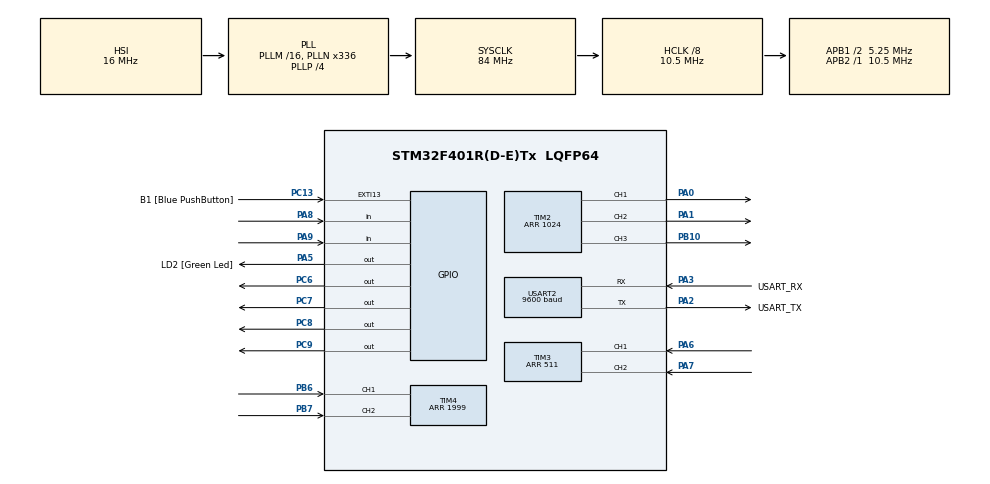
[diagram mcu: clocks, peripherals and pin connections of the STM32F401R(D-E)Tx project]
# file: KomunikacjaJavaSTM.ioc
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Dma.Request0=USART2_RX
Dma.Request1=USART2_TX
Dma.USART2_RX.0.Direction=DMA_PERIPH_TO_MEMORY
Dma.USART2_RX.0.FIFOMode=DMA_FIFOMODE_DISABLE
Dma.USART2_RX.0.Instance=DMA1_Stream5
Dma.USART2_RX.0.MemDataAlignment=DMA_MDATAALIGN_BYTE
Dma.USART2_RX.0.MemInc=DMA_MINC_ENABLE
Dma.USART2_RX.0.Mode=DMA_NORMAL
Dma.USART2_RX.0.PeriphDataAlignment=DMA_PDATAALIGN_BYTE
Dma.USART2_RX.0.PeriphInc=DMA_PINC_DISABLE
Dma.USART2_RX.0.Priority=DMA_PRIORITY_LOW
Dma.USART2_TX.1.Direction=DMA_MEMORY_TO_PERIPH
Dma.USART2_TX.1.FIFOMode=DMA_FIFOMODE_DISABLE
Dma.USART2_TX.1.Instance=DMA1_Stream6
Dma.USART2_TX.1.MemDataAlignment=DMA_MDATAALIGN_BYTE
Dma.USART2_TX.1.MemInc=DMA_MINC_ENABLE
Dma.USART2_TX.1.Mode=DMA_NORMAL
Dma.USART2_TX.1.PeriphDataAlignment=DMA_PDATAALIGN_BYTE
Dma.USART2_TX.1.PeriphInc=DMA_PINC_DISABLE
Dma.USART2_TX.1.Priority=DMA_PRIORITY_LOW
Mcu.Family=STM32F4
Mcu.Name=STM32F401R(D-E)Tx
Mcu.Package=LQFP64
NVIC.DMA1_Stream5_IRQn=true\:0\:0\:false\:false\:true\:false\:true
NVIC.DMA1_Stream6_IRQn=true\:0\:0\:false\:false\:true\:false\:true
NVIC.PriorityGroup=NVIC_PRIORITYGROUP_0
PA0-WKUP.Signal=S_TIM2_CH1_ETR
PA1.Signal=S_TIM2_CH2
PA13.GPIO_Label=TMS
PA13.Mode=Serial_Wire
PA13.Signal=SYS_JTMS-SWDIO
PA14.GPIO_Label=TCK
PA14.Mode=Serial_Wire
PA14.Signal=SYS_JTCK-SWCLK
PA2.GPIO_Label=USART_TX
PA2.GPIO_Mode=GPIO_MODE_AF_PP
PA2.GPIO_PuPd=GPIO_NOPULL
PA2.GPIO_Speed=GPIO_SPEED_FREQ_LOW
PA2.Mode=Asynchronous
PA2.Signal=USART2_TX
PA3.GPIO_Label=USART_RX
PA3.GPIO_Mode=GPIO_MODE_AF_PP
PA3.GPIO_PuPd=GPIO_NOPULL
PA3.GPIO_Speed=GPIO_SPEED_FREQ_LOW
PA3.Mode=Asynchronous
PA3.Signal=USART2_RX
PA5.GPIO_Label=LD2 [Green Led]
PA5.GPIO_Mode=GPIO_MODE_OUTPUT_PP
PA5.GPIO_PuPd=GPIO_NOPULL
PA5.GPIO_Speed=GPIO_SPEED_FREQ_LOW
PA5.Signal=GPIO_Output
PA6.Signal=S_TIM3_CH1
PA7.Signal=S_TIM3_CH2
PA8.Signal=GPIO_Input
PA9.Signal=GPIO_Input
PB10.Signal=S_TIM2_CH3
PB3.GPIO_Label=SWO
PB3.Signal=SYS_JTDO-SWO
PB6.Signal=S_TIM4_CH1
PB7.Signal=S_TIM4_CH2
PC13-ANTI_TAMP.GPIO_Label=B1 [Blue PushButton]
PC13-ANTI_TAMP.GPIO_ModeDefaultEXTI=GPIO_MODE_IT_FALLING
PC13-ANTI_TAMP.GPIO_PuPd=GPIO_NOPULL
PC13-ANTI_TAMP.Signal=GPXTI13
PC14-OSC32_IN.Mode=LSE-External-Oscillator
PC14-OSC32_IN.Signal=RCC_OSC32_IN
PC15-OSC32_OUT.Mode=LSE-External-Oscillator
PC15-OSC32_OUT.Signal=RCC_OSC32_OUT
PC6.Signal=GPIO_Output
PC7.Signal=GPIO_Output
PC8.Signal=GPIO_Output
PC9.Signal=GPIO_Output
PH0\ -\ OSC_IN.Mode=HSE-External-Clock-Source
PH0\ -\ OSC_IN.Signal=RCC_OSC_IN
PH1\ -\ OSC_OUT.Mode=HSE-External-Clock-Source
PH1\ -\ OSC_OUT.Signal=RCC_OSC_OUT
ProjectManager.HeapSize=0x200
ProjectManager.StackSize=0x400
ProjectManager.TargetToolchain=STM32CubeIDE
RCC.48MHZClocksFreq_Value=48000000
RCC.AHBCLKDivider=RCC_SYSCLK_DIV8
RCC.AHBFreq_Value=10500000
RCC.APB1CLKDivider=RCC_HCLK_DIV2
RCC.APB1Freq_Value=5250000
RCC.APB1TimFreq_Value=10500000
RCC.APB2Freq_Value=10500000
RCC.APB2TimFreq_Value=10500000
RCC.CortexFreq_Value=10500000
RCC.HCLKFreq_Value=10500000
RCC.HSE_VALUE=8000000
RCC.HSI_VALUE=16000000
RCC.PLLN=336
RCC.PLLP=RCC_PLLP_DIV4
RCC.PLLQ=7
RCC.SYSCLKFreq_VALUE=84000000
RCC.SYSCLKSource=RCC_SYSCLKSOURCE_PLLCLK
RCC.VCOOutputFreq_Value=336000000
SH.S_TIM2_CH1_ETR.0=TIM2_CH1,PWM Generation1 CH1
SH.S_TIM2_CH2.0=TIM2_CH2,PWM Generation2 CH2
SH.S_TIM2_CH3.0=TIM2_CH3,PWM Generation3 CH3
SH.S_TIM3_CH1.0=TIM3_CH1,Encoder_Interface
SH.S_TIM3_CH2.0=TIM3_CH2,Encoder_Interface
SH.S_TIM4_CH1.0=TIM4_CH1,Encoder_Interface
SH.S_TIM4_CH2.0=TIM4_CH2,Encoder_Interface
TIM2.Channel-PWM\ Generation1\ CH1=TIM_CHANNEL_1
TIM2.Channel-PWM\ Generation2\ CH2=TIM_CHANNEL_2
TIM2.Channel-PWM\ Generation3\ CH3=TIM_CHANNEL_3
TIM2.Period=1024
TIM3.Period=511
TIM4.Period=1999
USART2.BaudRate=9600
USART2.VirtualMode=VM_ASYNC
board=NUCLEO-F401RE

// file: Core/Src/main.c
/* USER CODE BEGIN Header */
/**
  ******************************************************************************
  * @file           : main.c
  * @brief          : Main program body
  ******************************************************************************
  * @attention
  *
  * Copyright (c) 2022 STMicroelectronics.
  * All rights reserved.
  *
  * This software is licensed under terms that can be found in the LICENSE file
  * in the root directory of this software component.
  * If no LICENSE file comes with this software, it is provided AS-IS.
  *
  ******************************************************************************
  */
/* USER CODE END Header */
#include "main.h"
#include "tim.h"
#include "usart.h"
#include "gpio.h"
#include <stdbool.h>

/* USER CODE BEGIN PM */

  // uint8_t communicationFrame  [13] = BIT STARTU= 0xFF , P , I , D , START , STOP , buttonLeft , buttonRight  , manual ,encoderUp,encoderDown,PWM, BIT STOPU = 0x00

 uint8_t P ;
 uint8_t  I ;
 uint8_t D ;
 uint8_t START ;
 uint8_t STOP ;
 uint8_t  leftButton;
 uint8_t rightButton ;
 uint8_t manual ;
 uint8_t  encoderUp;
 uint8_t encoderDown;
 uint8_t PWM;

   uint8_t  communicationFrame [13];
   void frameToName(){
P = communicationFrame [1];
I=communicationFrame [2];
D=communicationFrame [3];
START = communicationFrame [4];
STOP= communicationFrame [5];
leftButton= communicationFrame [6];
rightButton= communicationFrame [7];
manual= communicationFrame [8];
        communicationFrame [9]=encoderUp;
		communicationFrame [10]=encoderDown;
		communicationFrame [11]=PWM;
   }

uint8_t calculatePID( int odchylka) {

				double dt = 0.2;

							double Kp = 0.1;
							 double Ki = 0.1;
							double Kd = 0.1;

							double pre_error = 0;

							double integral = 0;
			    double error = setpoint - pv;

			    //P
			    double Pout = Kp * error;

			    //I
			    integral = integral + (error * dt);
			    double Iout = Ki * integral;

			    //D
			    double derivative = (error - pre_error) / dt;
			    double Dout = Kd * derivative;

			    //PID
			    double out = Pout + Iout + Dout;

			    pre_error = error;
			    return out;
			}

/* USER CODE END PM */

void SystemClock_Config(void);

/* USER CODE BEGIN 0 */
void HAL_UART_RxCpltCallback(UART_HandleTypeDef *huart) {

	static uint8_t Data[13]; // Tablica przechowujaca wysylana wiadomosc.

	////
	//HAL_UART_Transmit_DMA(&huart1, Data, 40); // Rozpoczecie nadawania danych z wykorzystaniem przerwan
	HAL_UART_Receive_DMA(&huart2, communicationFrame, 13); // Ponowne włączenie nasłuchiwania
	//HAL_GPIO_TogglePin(LED_BLUE_GPIO_Port, LED_BLUE_Pin);

	frameToName();
	sprintf(Data, "%s", communicationFrame);
	HAL_UART_Transmit_DMA(&huart2, Data, 13);

}
/* USER CODE END 0 */

int main(void)
{

  /* MCU Configuration--------------------------------------------------------*/

  /* Reset of all peripherals, Initializes the Flash interface and the Systick. */
  HAL_Init();

  /* Configure the system clock */
  SystemClock_Config();

  /* Initialize all configured peripherals */
  MX_GPIO_Init();
  MX_USART2_UART_Init();
  MX_TIM2_Init();
  MX_TIM3_Init();
  MX_TIM4_Init();
  /* USER CODE BEGIN 2 */
  uint16_t encoderCounterUp=0;
  uint16_t  encoderCounterDown=0;
  bool stateFirst=false;
  bool stateSecond=false;
  bool stateThird=false;
  bool stateFourth=false;
  bool stateFifth =false;
  char messageSend[64];
  char messageGet[64];
  char* mesage = 'recieved_message';
  double punktZero=0.0 ,PWM;
  bool left = false;
  bool right = false;
 int way;
  bool RecievedMSG = false;

  HAL_UART_Receive_DMA(&huart2, communicationFrame, 13);
  /* USER CODE END 2 */

  /* Infinite loop */
  /* USER CODE BEGIN WHILE */

  	HAL_TIM_Encoder_Start(&htim3, TIM_CHANNEL_ALL); // enkoder dol
  	HAL_TIM_Encoder_Start(&htim4, TIM_CHANNEL_ALL); // enkoder gora
    HAL_TIM_PWM_Start(&htim2, TIM_CHANNEL_1); // wysterowanie silnika
    HAL_TIM_PWM_Start(&htim2, TIM_CHANNEL_2);
    HAL_TIM_PWM_Start(&htim2, TIM_CHANNEL_3);

  while (1)
  {
	encoderCounterUp = __HAL_TIM_GET_COUNTER(&htim4);
		encoderCounterDown = __HAL_TIM_GET_COUNTER(&htim3);
		if (START == 1&& STOP == 0 && manual == 0)
		{

			PWM =calculatePID(0,encoderCounterUp);
			 if(PWM>0)
						            {

						             HAL_GPIO_WritePin(GPIOC, GPIO_PIN_6,  GPIO_PIN_SET);
						             HAL_GPIO_WritePin(GPIOC, GPIO_PIN_7,  GPIO_PIN_RESET);
						             HAL_GPIO_WritePin(GPIOC, GPIO_PIN_8,  GPIO_PIN_SET);
						             HAL_GPIO_WritePin(GPIOC, GPIO_PIN_9,  GPIO_PIN_RESET);
						             HAL_Delay(10);
						             __HAL_TIM_SET_COMPARE(&htim2, TIM_CHANNEL_1, PWM);
						            }else{

						            	HAL_GPIO_WritePin(GPIOC, GPIO_PIN_6,  GPIO_PIN_RESET);
						            	HAL_GPIO_WritePin(GPIOC, GPIO_PIN_7,  GPIO_PIN_SET);
						            	HAL_GPIO_WritePin(GPIOC, GPIO_PIN_8,  GPIO_PIN_RESET);
						            	HAL_GPIO_WritePin(GPIOC, GPIO_PIN_9,  GPIO_PIN_SET);
						            	HAL_Delay(10);
						            	__HAL_TIM_SET_COMPARE(&htim2, TIM_CHANNEL_1, PWM);
						            }
		}
		if (START == 0 && STOP == 1 && manual == 0)
		{

		}
		if (manual == 1 && leftButton==1 && rightButton == 0)
				{
			HAL_GPIO_WritePin(GPIOC, GPIO_PIN_6,  GPIO_PIN_RESET);
					HAL_GPIO_WritePin(GPIOC, GPIO_PIN_7,  GPIO_PIN_SET);
					HAL_GPIO_WritePin(GPIOC, GPIO_PIN_8,  GPIO_PIN_RESET);
					HAL_GPIO_WritePin(GPIOC, GPIO_PIN_9,  GPIO_PIN_SET);
					HAL_Delay(10);
					__HAL_TIM_SET_COMPARE(&htim2, TIM_CHANNEL_1, 50);
				}
		if (manual == 1 && leftButton==1 && rightButton == 0)
						{
			HAL_GPIO_WritePin(GPIOC, GPIO_PIN_6,  GPIO_PIN_RESET);
					HAL_GPIO_WritePin(GPIOC, GPIO_PIN_7,  GPIO_PIN_SET);
					HAL_GPIO_WritePin(GPIOC, GPIO_PIN_8,  GPIO_PIN_RESET);
					HAL_GPIO_WritePin(GPIOC, GPIO_PIN_9,  GPIO_PIN_SET);
					HAL_Delay(10);
					__HAL_TIM_SET_COMPARE(&htim2, TIM_CHANNEL_1, 50);
						}

    /* USER CODE END WHILE */

  }

}
void SystemClock_Config(void)
{
  RCC_OscInitTypeDef RCC_OscInitStruct = {0};
  RCC_ClkInitTypeDef RCC_ClkInitStruct = {0};

  /** Configure the main internal regulator output voltage
  */
  __HAL_RCC_PWR_CLK_ENABLE();
  __HAL_PWR_VOLTAGESCALING_CONFIG(PWR_REGULATOR_VOLTAGE_SCALE2);
  /** Initializes the RCC Oscillators according to the specified parameters
  * in the RCC_OscInitTypeDef structure.
  */
  RCC_OscInitStruct.OscillatorType = RCC_OSCILLATORTYPE_HSI;
  RCC_OscInitStruct.HSIState = RCC_HSI_ON;
  RCC_OscInitStruct.HSICalibrationValue = RCC_HSICALIBRATION_DEFAULT;
  RCC_OscInitStruct.PLL.PLLState = RCC_PLL_ON;
  RCC_OscInitStruct.PLL.PLLSource = RCC_PLLSOURCE_HSI;
  RCC_OscInitStruct.PLL.PLLM = 16;
  RCC_OscInitStruct.PLL.PLLN = 336;
  RCC_OscInitStruct.PLL.PLLP = RCC_PLLP_DIV4;
  RCC_OscInitStruct.PLL.PLLQ = 7;
  if (HAL_RCC_OscConfig(&RCC_OscInitStruct) != HAL_OK)
  {
    Error_Handler();
  }
  /** Initializes the CPU, AHB and APB buses clocks
  */
  RCC_ClkInitStruct.ClockType = RCC_CLOCKTYPE_HCLK|RCC_CLOCKTYPE_SYSCLK
                              |RCC_CLOCKTYPE_PCLK1|RCC_CLOCKTYPE_PCLK2;
  RCC_ClkInitStruct.SYSCLKSource = RCC_SYSCLKSOURCE_PLLCLK;
  RCC_ClkInitStruct.AHBCLKDivider = RCC_SYSCLK_DIV8;
  RCC_ClkInitStruct.APB1CLKDivider = RCC_HCLK_DIV2;
  RCC_ClkInitStruct.APB2CLKDivider = RCC_HCLK_DIV1;

  if (HAL_RCC_ClockConfig(&RCC_ClkInitStruct, FLASH_LATENCY_0) != HAL_OK)
  {
    Error_Handler();
  }
}

void Error_Handler(void)
{
  __disable_irq();
  while (1)
  {
  }
}
